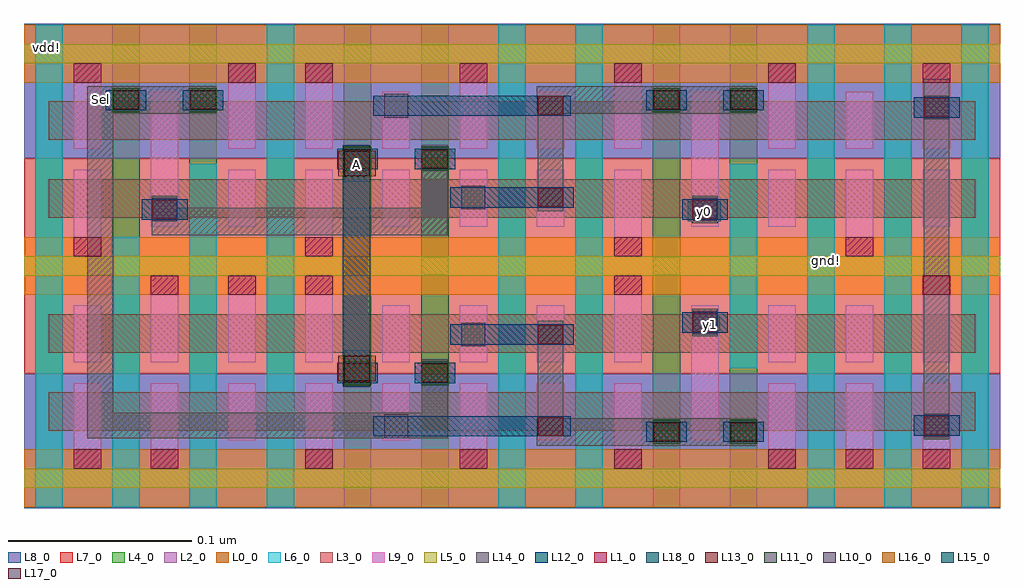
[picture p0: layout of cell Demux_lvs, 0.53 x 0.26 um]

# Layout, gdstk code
from math import pi, radians
import gdstk
lib = gdstk.Library(unit=1e-6, precision=5e-10)
def R(c, l, rs):  # rectangles x0, y0, x1, y1
    for r in rs: c.add(gdstk.rectangle(r[:2], r[2:], *l))
def A(c, l, x, y, w, h, nx, ny, dx, dy):  # array of equal rectangles
    R(c, l, [(x+i*dx, y+j*dy, x+i*dx+w, y+j*dy+h) for i in range(nx) for j in range(ny)])
L0_0 = (0, 0)
L1_0 = (1, 0)
L2_0 = (2, 0)
L3_0 = (3, 0)
L4_0 = (4, 0)
L5_0 = (5, 0)
L6_0 = (6, 0)
L7_0 = (7, 0)
L8_0 = (8, 0)
L9_0 = (9, 0)
L10_0 = (10, 0)
L11_0 = (11, 0)
L12_0 = (12, 0)
L13_0 = (13, 0)
L14_0 = (14, 0)
L15_0 = (15, 0)
L16_0 = (16, 0)
L17_0 = (17, 0)
L18_0 = (18, 0)

nmos = lib.new_cell('nmos')
R(nmos, L3_0, [(-0.042,-0.0105,0.042,0.0105)])
A(nmos, L4_0, -0.0495, -0.032, 0.015, 0.064, 3, 1, 0.042, 0)
R(nmos, L7_0, [(-0.0555,-0.021,0.0555,0.0205)])
R(nmos, L9_0, [(-0.0285,-0.0155,-0.0135,0.0155), (0.0135,-0.0155,0.0285,0.0155)])

pmos = lib.new_cell('pmos')
R(pmos, L2_0, [(-0.042,-0.0205,0.042,0.0205)])
R(pmos, L3_0, [(-0.042,-0.0105,0.042,0.0105)])
A(pmos, L4_0, -0.0495, -0.032, 0.015, 0.064, 3, 1, 0.042, 0)
R(pmos, L8_0, [(-0.0555,-0.0205,0.0555,0.0205)])
R(pmos, L9_0, [(-0.0285,-0.0155,-0.0135,0.0155), (0.0135,-0.0155,0.0285,0.0155)])

bpr_m0a = lib.new_cell('BPR_M0A')
R(bpr_m0a, L0_0, [(-0.021,-0.0055,0.021,0.026)])
R(bpr_m0a, L1_0, [(-0.0075,-0.0055,0.0075,0.005)])
R(bpr_m0a, L9_0, [(-0.0075,-0.0165,0.0075,0.005)])

m0a_m0b = lib.new_cell('M0A_M0B')
R(m0a_m0b, L9_0, [(-0.0075,-0.0055,0.0075,0.0055)])
R(m0a_m0b, L10_0, [(-0.0065,-0.0065,0.0065,0.0065)])
R(m0a_m0b, L12_0, [(-0.0125,-0.0055,0.0125,0.0055)])

gate_m0b = lib.new_cell('GATE_M0B')
R(gate_m0b, L4_0, [(-0.0075,-0.0115,0.0075,0.0115)])
R(gate_m0b, L11_0, [(-0.0075,-0.0065,0.0075,0.0065)])
R(gate_m0b, L12_0, [(-0.011,-0.0055,0.011,0.0055)])

m0b_m1 = lib.new_cell('M0B_M1')
R(m0b_m1, L12_0, [(-0.011,-0.005,0.011,0.005)])
R(m0b_m1, L13_0, [(-0.007,-0.005,0.007,0.005)])
R(m0b_m1, L14_0, [(-0.007,-0.0075,0.007,0.0075)])

inv = lib.new_cell('inv')
R(inv, L0_0, [(0,0,0.153,0.0315), (0.025,0.006,0.0415,0.016), (0,0.1155,0.153,0.147), (0.11,0.131,0.125,0.1425)])
R(inv, L2_0, [(0,0.0745,0.153,0.147)])
A(inv, L4_0, 0.006, 0, 0.015, 0.147, 4, 1, 0.042, 0)
R(inv, L5_0, [(0,0.0105,0.153,0.021), (0,0.126,0.153,0.1365)])
R(inv, L6_0, [(0.006,0,0.021,0.147), (0.09,0,0.105,0.0715), (0.132,0,0.147,0.147)])
R(inv, L7_0, [(0,0,0.153,0.0745)])
R(inv, L8_0, [(0,0.075,0.153,0.1475)])
R(inv, L9_0, [(0.069,0.068,0.084,0.0795)])
R(inv, L12_0, [(0.0915,0.103,0.1055,0.1095)])
R(inv, L14_0, [(0.071,0.0415,0.0815,0.051), (0.0485,0.0985,0.1045,0.1135)])
inv.add(gdstk.Reference(nmos, (0.0975,0.0525)))
inv.add(gdstk.Reference(nmos, (0.0555,0.0525)))
inv.add(gdstk.Reference(pmos, (0.0975,0.095)))
inv.add(gdstk.Reference(pmos, (0.0555,0.095)))
inv.add(gdstk.Reference(bpr_m0a, (0.0345,0.026), rotation=pi))
inv.add(gdstk.Reference(bpr_m0a, (0.0345,0.121)))
inv.add(gdstk.Reference(bpr_m0a, (0.1185,0.121)))
inv.add(gdstk.Reference(m0a_m0b, (0.0765,0.0465)))
inv.add(gdstk.Reference(gate_m0b, (0.0555,0.106)))
inv.add(gdstk.Reference(gate_m0b, (0.0975,0.106)))
inv.add(gdstk.Reference(m0b_m1, (0.0555,0.106)))
inv.add(gdstk.Reference(m0b_m1, (0.0765,0.0465)))
inv.add(gdstk.Reference(m0b_m1, (0.0975,0.106)))
inv.add(gdstk.Label('vdd!', (0.1175,0.1365), layer=0, texttype=0))
inv.add(gdstk.Label('gnd!', (0.033,0.011), layer=0, texttype=0))
inv.add(gdstk.Label('out', (0.075,0.0435), layer=14, texttype=0))
inv.add(gdstk.Label('in', (0.0985,0.1045), layer=14, texttype=0))

nand = lib.new_cell('nand')
R(nand, L0_0, [(0.1045,0.057,0.2155,0.0885), (0.1465,0.057,0.2995,0.0885), (0.133,0.0665,0.142,0.074), (0.1045,0.1725,0.2155,0.204), (0.1465,0.1725,0.2995,0.204), (0.137,0.192,0.143,0.198)])
R(nand, L2_0, [(0.1045,0.1315,0.2155,0.204), (0.1465,0.1315,0.2995,0.204)])
A(nand, L4_0, 0.1105, 0.057, 0.015, 0.147, 5, 1, 0.042, 0)
R(nand, L4_0, [(0.2785,0.057,0.2935,0.204)])
R(nand, L5_0, [(0.1045,0.0675,0.2995,0.078), (0.1045,0.183,0.2995,0.1935)])
R(nand, L6_0, [(0.1105,0.057,0.1255,0.204), (0.2365,0.057,0.2515,0.204), (0.2785,0.057,0.2935,0.204)])
R(nand, L7_0, [(0.1045,0.057,0.2155,0.1315), (0.1465,0.057,0.2995,0.1315)])
R(nand, L8_0, [(0.1045,0.132,0.2155,0.2045), (0.1465,0.133,0.2995,0.2045)])
R(nand, L12_0, [(0.2105,0.1045,0.2775,0.1155), (0.1685,0.1545,0.276,0.1655)])
R(nand, L14_0, [(0.258,0.1025,0.272,0.1675), (0.1575,0.129,0.162,0.134), (0.2,0.1295,0.204,0.133), (0.262,0.1575,0.2675,0.1625)])
nand.add(gdstk.Reference(nmos, (0.244,0.1095), rotation=pi, x_reflection=True))
nand.add(gdstk.Reference(nmos, (0.16,0.1095), rotation=pi, x_reflection=True))
nand.add(gdstk.Reference(pmos, (0.16,0.152), rotation=pi, x_reflection=True))
nand.add(gdstk.Reference(pmos, (0.202,0.152), rotation=pi, x_reflection=True))
nand.add(gdstk.Reference(pmos, (0.244,0.152), rotation=pi, x_reflection=True))
nand.add(gdstk.Reference(bpr_m0a, (0.139,0.178), rotation=pi, x_reflection=True))
nand.add(gdstk.Reference(bpr_m0a, (0.139,0.083), x_reflection=True))
nand.add(gdstk.Reference(bpr_m0a, (0.223,0.178), rotation=pi, x_reflection=True))
nand.add(gdstk.Reference(m0a_m0b, (0.181,0.16)))
nand.add(gdstk.Reference(m0a_m0b, (0.223,0.11)))
nand.add(gdstk.Reference(m0b_m1, (0.265,0.16)))
nand.add(gdstk.Reference(m0b_m1, (0.265,0.11)))
nand.add(gdstk.Reference(m0b_m1, (0.202,0.131)))
nand.add(gdstk.Reference(m0b_m1, (0.16,0.131)))
nand.add(gdstk.Reference(gate_m0b, (0.202,0.131)))
nand.add(gdstk.Reference(gate_m0b, (0.16,0.131)))
nand.add(gdstk.Label('Y', (0.2645,0.16), layer=14, texttype=0))
nand.add(gdstk.Label('A', (0.1595,0.1315), layer=14, texttype=0))
nand.add(gdstk.Label('B', (0.202,0.131), layer=14, texttype=0))
nand.add(gdstk.Label('gnd!', (0.1375,0.07), layer=0, texttype=0))
nand.add(gdstk.Label('vdd!', (0.14,0.195), layer=0, texttype=0))

sram_filler = lib.new_cell('sram_filler')
R(sram_filler, L0_0, [(0.001,0,0.112,0.0315), (0.072,0.0115,0.084,0.0245), (0.001,0.1155,0.112,0.147), (0.072,0.121,0.0855,0.141)])
R(sram_filler, L2_0, [(0.001,0.0745,0.112,0.147)])
A(sram_filler, L4_0, 0.007, 0, 0.015, 0.147, 3, 1, 0.042, 0)
R(sram_filler, L5_0, [(0.001,0.0105,0.112,0.021), (0.001,0.126,0.112,0.1365)])
A(sram_filler, L6_0, 0.007, 0, 0.015, 0.147, 3, 1, 0.042, 0)
R(sram_filler, L7_0, [(0.001,0,0.112,0.0745)])
R(sram_filler, L8_0, [(0.001,0.075,0.112,0.1475)])
sram_filler.add(gdstk.Reference(nmos, (0.0565,0.0525)))
sram_filler.add(gdstk.Reference(pmos, (0.0565,0.095)))
sram_filler.add(gdstk.Reference(bpr_m0a, (0.0355,0.026), rotation=pi))
sram_filler.add(gdstk.Reference(bpr_m0a, (0.0775,0.121)))

m1_m2 = lib.new_cell('M1_M2')
R(m1_m2, L14_0, [(-0.007,-0.01,0.007,0.01)])
R(m1_m2, L15_0, [(-0.007,-0.007,0.007,0.007)])
R(m1_m2, L16_0, [(-0.01,-0.007,0.01,0.007)])

m2_m3 = lib.new_cell('M2_M3')
R(m2_m3, L16_0, [(-0.01,-0.007,0.01,0.007)])
R(m2_m3, L17_0, [(-0.007,-0.007,0.007,0.007)])
R(m2_m3, L18_0, [(-0.0075,-0.01,0.0075,0.01)])

demux_lvs = lib.new_cell('Demux_lvs')
R(demux_lvs, L0_0, [(0.426,0.1155,0.447,0.147), (0,0.231,0.021,0.2625)])
R(demux_lvs, L14_0, [(0.279,0.0335,0.3425,0.0485), (0.4895,0.037,0.5035,0.233), (0.0345,0.0375,0.2305,0.0515), (0.0345,0.0375,0.0485,0.229), (0.2165,0.0375,0.2305,0.0805), (0.3685,0.096,0.3785,0.1035), (0.0695,0.148,0.2305,0.163), (0.2165,0.148,0.2305,0.197), (0.361,0.1555,0.379,0.1665), (0.279,0.214,0.3425,0.229), (0.0345,0.215,0.0485,0.229)])
R(demux_lvs, L18_0, [(0.1735,0.0665,0.1885,0.196), (0.1745,0.1775,0.1885,0.196)])
demux_lvs.add(gdstk.Reference(inv, (0,0.1155)))
demux_lvs.add(gdstk.Reference(inv, (0.294,0.1155)))
demux_lvs.add(gdstk.Reference(inv, (0.294,0.147), x_reflection=True))
demux_lvs.add(gdstk.Reference(nand, (0.0215,0.0585)))
demux_lvs.add(gdstk.Reference(nand, (0.0215,0.204), x_reflection=True))
demux_lvs.add(gdstk.Reference(sram_filler, (0.154,0.147), rotation=pi))
demux_lvs.add(gdstk.Reference(sram_filler, (0.112,0.147), rotation=pi))
demux_lvs.add(gdstk.Reference(sram_filler, (0.419,0.1155)))
demux_lvs.add(gdstk.Reference(sram_filler, (0.532,0.147), rotation=pi))
demux_lvs.add(gdstk.Reference(m0b_m1, (0.4965,0.2175)))
demux_lvs.add(gdstk.Reference(m0b_m1, (0.4965,0.0445)))
demux_lvs.add(gdstk.Reference(m0a_m0b, (0.4965,0.2175)))
demux_lvs.add(gdstk.Reference(m0a_m0b, (0.4965,0.0445)))
demux_lvs.add(gdstk.Reference(m1_m2, (0.1815,0.187)))
demux_lvs.add(gdstk.Reference(m1_m2, (0.1815,0.0755)))
demux_lvs.add(gdstk.Reference(bpr_m0a, (0.4965,0.026), rotation=pi))
demux_lvs.add(gdstk.Reference(m2_m3, (0.181,0.187)))
demux_lvs.add(gdstk.Reference(m2_m3, (0.181,0.0755)))
demux_lvs.add(gdstk.Label('y1', (0.3735,0.0995), layer=14, texttype=0))
demux_lvs.add(gdstk.Label('y0', (0.37,0.161), layer=14, texttype=0))
demux_lvs.add(gdstk.Label('Sel', (0.0415,0.222), layer=14, texttype=0))
demux_lvs.add(gdstk.Label('gnd!', (0.4365,0.1345), layer=0, texttype=0))
demux_lvs.add(gdstk.Label('vdd!', (0.0125,0.25), layer=0, texttype=0))
demux_lvs.add(gdstk.Label('A', (0.181,0.1865), layer=18, texttype=0))

lib.write_gds('Demux_lvs.gds')
